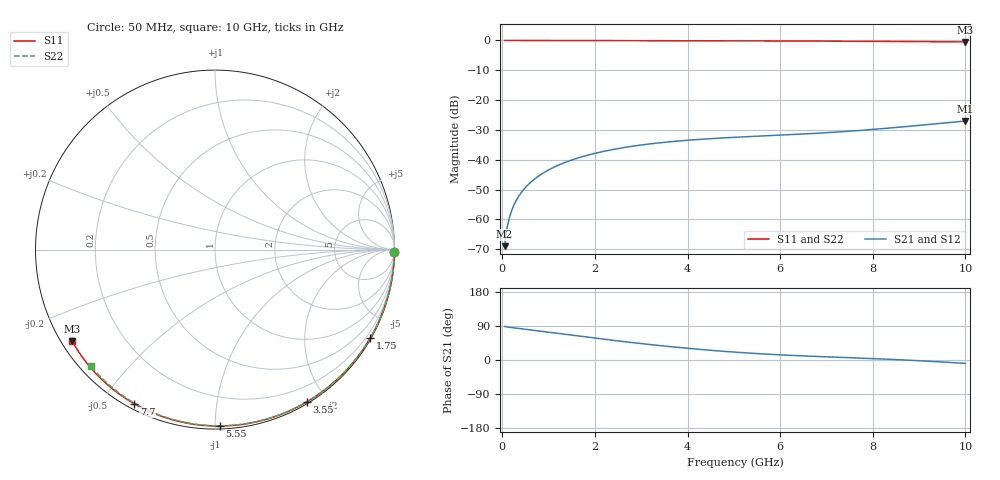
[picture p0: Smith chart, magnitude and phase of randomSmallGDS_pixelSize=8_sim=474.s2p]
! freq	dB(S11)	phase(S11)	dB(S12)	phase(S12)
!  dB(S21)	phase(S21)	dB(S22)	phase(S22)
!S-par simulation data
#  GHz  S  DB  R 50
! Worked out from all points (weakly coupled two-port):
!   200 points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, 50 MHz to 10 GHz, reference 50 ohm
!   highest |S21| = -27.00 dB at 10 GHz (marker M1); lowest = -69.0 dB at 50 MHz (marker M2)
!   lowest |S11| = -0.5 dB at 10 GHz (marker M3), VSWR 35.42, Z = 1.53 - j14.6 ohm
!   |S11| at or under -10 dB: nowhere
!   |S22| runs from -0.5 to 0.0 dB; largest |S21 - S12| = 0
!   S11 on the Smith chart (normalised r, x): 50 MHz: open; 1.75 GHz: 0.03, -3.76; 3.55 GHz: 0.02, -1.77; 5.55 GHz: 0.02, -1.03; 7.7 GHz: 0.02, -0.60; 10 GHz: 0.03, -0.29
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0.05  -0.00 -0.9  -68.96 88.5  -68.96 88.5  -0.00 -0.8
0.1  -0.00 -1.7  -63.02 87.3  -63.02 87.3  -0.00 -1.6
0.15  -0.00 -2.6  -59.56 86.4  -59.56 86.4  -0.00 -2.4
0.2  -0.00 -3.5  -57.11 85.6  -57.11 85.6  -0.00 -3.2
0.25  -0.00 -4.3  -55.21 84.9  -55.21 84.9  -0.00 -4.0
0.35  -0.00 -6.1  -52.33 83.4  -52.33 83.4  -0.00 -5.6
0.5  -0.01 -8.6  -49.28 81.1  -49.28 81.1  -0.01 -8.0
0.7  -0.01 -12.1  -46.41 78.0  -46.41 78.0  -0.01 -11.2
1  -0.02 -17.2  -43.39 73.2  -43.39 73.2  -0.02 -16.0
1.35  -0.03 -23.1  -40.92 67.7  -40.92 67.7  -0.03 -21.5
1.75  -0.04 -29.8  -38.86 61.5  -38.86 61.5  -0.04 -27.7
2.5  -0.05 -42.1  -36.24 50.3  -36.24 50.3  -0.05 -39.2
3.4  -0.08 -56.5  -34.31 38.1  -34.31 38.1  -0.07 -52.6
3.55  -0.08 -58.8  -34.07 36.2  -34.07 36.2  -0.07 -54.8
4.3  -0.10 -70.3  -33.11 27.6  -33.11 27.6  -0.09 -65.5
5.05  -0.13 -81.3  -32.44 20.5  -32.44 20.5  -0.12 -75.8
5.55  -0.15 -88.5  -32.07 16.6  -32.07 16.6  -0.14 -82.5
6.7  -0.20 -104.4  -31.19 9.7  -31.19 9.7  -0.19 -97.3
7.7  -0.27 -117.7  -30.19 5.1  -30.19 5.1  -0.25 -109.6
8.35  -0.32 -126.1  -29.38 1.9  -29.38 1.9  -0.30 -117.4
9.2  -0.40 -137.1  -28.18 -3.2  -28.18 -3.2  -0.37 -127.4
10  -0.49 -147.5  -27.00 -9.0  -27.00 -9.0  -0.45 -136.7
